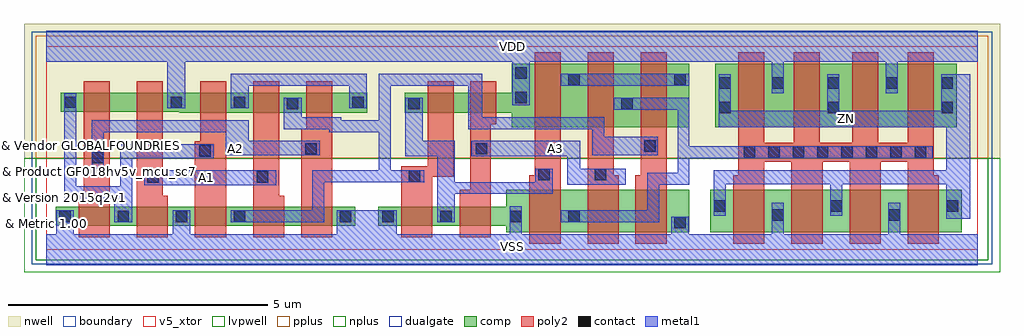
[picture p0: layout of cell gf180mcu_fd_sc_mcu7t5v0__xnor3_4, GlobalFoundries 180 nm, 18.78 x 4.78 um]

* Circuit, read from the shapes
.subckt gf180mcu_fd_sc_mcu7t5v0__xnor3_4 A1 A2 A3 VDD VSS ZN
XM1 n1 A2 VSS VSUBS nfet_05v0 w=0.36u l=0.6u
XM2 VSS A1 n1 VSUBS nfet_05v0 w=0.36u l=0.6u
XM3 n2 n1 VSS VSUBS nfet_05v0 w=0.36u l=0.6u
XM4 n3 A1 n2 VSUBS nfet_05v0 w=0.36u l=0.6u
XM5 VSS A2 n3 VSUBS nfet_05v0 w=0.36u l=0.6u
XM6 n4 n2 VSS VSUBS nfet_05v0 w=0.36u l=0.6u
XM7 VSS A3 n4 VSUBS nfet_05v0 w=0.36u l=0.6u
XM8 n5 n4 VSS VSUBS nfet_05v0 w=0.82u l=0.6u
XM9 n6 A3 n5 VSUBS nfet_05v0 w=0.82u l=0.6u
XM10 VSS n2 n6 VSUBS nfet_05v0 w=0.82u l=0.6u
XM11 VSS n5 ZN VSUBS nfet_05v0 w=0.82u l=0.6u m=4
XM12 n7 A2 n1 n8 pfet_05v0 w=0.36u l=0.5u
XM13 VDD A1 n7 n8 pfet_05v0 w=0.36u l=0.5u
XM14 n9 n1 VDD n8 pfet_05v0 w=0.385u l=0.5u
XM15 n2 A1 n9 n8 pfet_05v0 w=0.385u l=0.5u
XM16 n9 A2 n2 n8 pfet_05v0 w=0.385u l=0.5u
XM17 n10 n2 n4 n8 pfet_05v0 w=0.385u l=0.5u
XM18 VDD A3 n10 n8 pfet_05v0 w=0.385u l=0.5u
XM19 n11 n4 VDD n8 pfet_05v0 w=1.22u l=0.5u
XM20 n5 A3 n11 n8 pfet_05v0 w=1.22u l=0.5u
XM21 n11 n2 n5 n8 pfet_05v0 w=1.22u l=0.5u
XM22 VDD n5 ZN n8 pfet_05v0 w=1.22u l=0.5u m=4
.ends

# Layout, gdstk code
import gdstk
lib = gdstk.Library(unit=1e-6, precision=1e-09)
def R(c, l, rs):  # rectangles x0, y0, x1, y1
    for r in rs: c.add(gdstk.rectangle(r[:2], r[2:], *l))
def A(c, l, x, y, w, h, nx, ny, dx, dy):  # array of equal rectangles
    R(c, l, [(x+i*dx, y+j*dy, x+i*dx+w, y+j*dy+h) for i in range(nx) for j in range(ny)])
def P(c, l, *ps):  # polygons
    for p in ps: c.add(gdstk.Polygon(p, *l))
boundary = (0, 0)
nwell = (21, 0)
comp = (22, 0)
poly2 = (30, 0)
pplus = (31, 0)
nplus = (32, 0)
contact = (33, 0)
metal1 = (34, 0)
dualgate = (55, 0)
v5_xtor = (112, 1)
lvpwell = (204, 0)

gf180mcu_fd_sc_mcu7t5v0_ = lib.new_cell('gf180mcu_fd_sc_mcu7t5v0__xnor3_4')
R(gf180mcu_fd_sc_mcu7t5v0_, boundary, [(0,0,17.92,3.92)])
R(gf180mcu_fd_sc_mcu7t5v0_, nwell, [(-0.43,1.76,18.35,4.35)])
R(gf180mcu_fd_sc_mcu7t5v0_, comp, [(12.775,0.34,17.615,1.16), (0.18,0.465,5.94,0.825), (12.875,2.36,17.515,3.58)])
P(gf180mcu_fd_sc_mcu7t5v0_, comp, [(2.56,2.635),(2.56,2.66),(0.28,2.66),(0.28,3.02),(6.175,3.02),(6.175,2.635)],
  [(8.85,0.34),(8.85,0.465),(6.39,0.465),(6.39,0.825),(8.85,0.825),(8.85,1.16),(12.375,1.16),(12.375,0.34)],
  [(8.955,2.36),(8.955,2.635),(6.895,2.635),(6.895,3.02),(8.955,3.02),(8.955,3.58),(12.375,3.58),(12.375,2.36)])
P(gf180mcu_fd_sc_mcu7t5v0_, poly2, [(0.62,0.245),(0.62,1.045),(0.72,1.045),(0.72,3.24),(1.22,3.24),(1.22,0.245)],
  [(1.74,0.245),(1.74,3.24),(2.24,3.24),(2.24,1.045),(2.34,1.045),(2.34,0.245)],
  [(2.86,0.245),(2.86,2.09),(2.96,2.09),(2.96,3.24),(3.46,3.24),(3.46,0.245)],
  [(3.98,0.245),(3.98,3.24),(4.48,3.24),(4.48,1.045),(4.58,1.045),(4.58,0.245)],
  [(4.9,0.245),(4.9,2.335),(5,2.335),(5,3.24),(5.5,3.24),(5.5,0.245)],
  [(6.83,0.245),(6.83,1.61),(7.335,1.61),(7.335,3.24),(7.835,3.24),(7.835,1.41),(7.43,1.41),(7.43,0.245)],
  [(7.95,0.245),(7.95,1.16),(8.155,1.16),(8.155,3.24),(8.655,3.24),(8.655,2.415),(8.55,2.415),(8.55,0.245)],
  [(9.295,0.12),(9.295,1.44),(9.395,1.44),(9.395,3.8),(9.895,3.8),(9.895,0.12)],
  [(10.415,0.12),(10.415,3.8),(10.915,3.8),(10.915,1.44),(11.015,1.44),(11.015,0.12)],
  [(11.335,0.12),(11.335,1.44),(11.435,1.44),(11.435,3.8),(11.935,3.8),(11.935,0.12)],
  [(13.215,0.12),(13.215,1.44),(13.315,1.44),(13.315,3.8),(13.815,3.8),(13.815,2.06),(14.385,2.06),(14.385,3.8),(14.885,3.8),(14.885,2.06),(15.505,2.06),(15.505,3.8),(16.005,3.8),(16.005,2.06),(16.575,2.06),(16.575,3.8),(17.075,3.8),(17.075,1.44),(17.175,1.44),(17.175,0.12),(16.575,0.12),(16.575,1.7),(16.055,1.7),(16.055,0.12),(15.455,0.12),(15.455,1.7),(14.935,1.7),(14.935,0.12),(14.335,0.12),(14.335,1.7),(13.815,1.7),(13.815,0.12)])
R(gf180mcu_fd_sc_mcu7t5v0_, pplus, [(-0.2,1.76,18.12,4.12)])
R(gf180mcu_fd_sc_mcu7t5v0_, nplus, [(-0.2,-0.2,18.12,1.76)])
A(gf180mcu_fd_sc_mcu7t5v0_, contact, 0.25, 0.535, 0.22, 0.22, 4, 1, 1.12, 0)
A(gf180mcu_fd_sc_mcu7t5v0_, contact, 12.845, 0.73, 0.22, 0.22, 3, 1, 2.24, 0)
A(gf180mcu_fd_sc_mcu7t5v0_, contact, 13.42, 1.77, 0.22, 0.22, 8, 1, 0.47, 0)
R(gf180mcu_fd_sc_mcu7t5v0_, contact, [(12.085,0.415,12.305,0.635), (5.65,0.535,5.87,0.755), (6.46,0.535,6.68,0.755), (7.58,0.535,7.8,0.755), (8.92,0.535,9.14,0.755), (10.045,0.535,10.265,0.755), (13.965,0.56,14.185,0.78), (16.205,0.56,16.425,0.78), (1.94,1.29,2.16,1.51), (4.05,1.295,4.27,1.515), (6.97,1.31,7.19,1.53), (9.465,1.335,9.685,1.555), (10.555,1.335,10.775,1.555), (0.88,1.665,1.1,1.885), (2.94,1.79,3.16,2.01), (4.98,1.835,5.2,2.055), (8.26,1.835,8.48,2.055), (11.505,1.89,11.725,2.11), (12.945,2.63,13.165,2.85), (15.035,2.63,15.255,2.85), (17.225,2.63,17.445,2.85), (4.63,2.705,4.85,2.925), (6.965,2.705,7.185,2.925), (11.065,2.705,11.285,2.925), (0.35,2.73,0.57,2.95), (2.39,2.73,2.61,2.95), (3.61,2.73,3.83,2.95), (5.885,2.73,6.105,2.95), (9.025,2.82,9.245,3.04), (12.945,3.1,13.165,3.32), (13.965,3.1,14.185,3.32), (15.035,3.1,15.255,3.32), (16.155,3.1,16.375,3.32), (17.225,3.1,17.445,3.32), (10.045,3.165,10.265,3.385), (12.085,3.165,12.305,3.385), (9.025,3.29,9.245,3.51)])
R(gf180mcu_fd_sc_mcu7t5v0_, metal1, [(1.88,1.24,4.42,1.535), (9.895,3.16,12.375,3.39)])
P(gf180mcu_fd_sc_mcu7t5v0_, metal1, [(1.31,0.53),(1.31,0.99),(0.345,0.99),(0.345,3.015),(0.575,3.015),(0.575,1.225),(1.42,1.225),(1.42,2.035),(3.22,2.035),(3.22,1.765),(1.65,1.765),(1.65,0.53)],
  [(0.875,1.565),(0.875,2.495),(3.89,2.495),(3.89,2.095),(5.26,2.095),(5.26,1.82),(3.45,1.82),(3.45,2.265),(1.105,2.265),(1.105,1.565)],
  [(3.55,2.725),(3.55,3.39),(6.165,3.39),(6.165,2.725),(5.825,2.725),(5.825,3.16),(3.89,3.16),(3.89,2.725)],
  [(7.52,0.53),(7.52,1.8),(6.905,1.8),(6.905,2.93),(7.245,2.93),(7.245,2.095),(7.86,2.095),(7.86,1.305),(9.405,1.305),(9.405,1.56),(9.745,1.56),(9.745,1.075),(7.86,1.075),(7.86,0.53)],
  [(10.02,1.255),(10.02,1.8),(8.175,1.8),(8.175,2.095),(10.275,2.095),(10.275,1.565),(11.15,1.565),(11.15,1.255)],
  [(3.55,0.53),(3.55,0.76),(5.115,0.76),(5.115,1.535),(6.395,1.535),(6.395,2.265),(5.44,2.265),(5.44,2.325),(4.57,2.325),(4.57,2.93),(4.91,2.93),(4.91,2.555),(5.67,2.555),(5.67,2.495),(6.395,2.495),(6.395,3.39),(8.39,3.39),(8.39,2.555),(10.735,2.555),(10.735,2.18),(11.76,2.18),(11.76,1.82),(10.505,1.82),(10.505,2.325),(8.115,2.325),(8.115,3.16),(6.625,3.16),(6.625,1.535),(7.275,1.535),(7.275,1.3),(5.345,1.3),(5.345,0.53)],
  [(9.895,0.53),(9.895,0.76),(11.565,0.76),(11.565,1.485),(12.145,1.485),(12.145,2.7),(10.915,2.7),(10.915,2.93),(12.375,2.93),(12.375,1.995),(17.06,1.995),(17.06,1.765),(12.375,1.765),(12.375,1.255),(11.795,1.255),(11.795,0.53)],
  [(17.32,0.6),(17.32,1.26),(15.31,1.26),(15.31,0.655),(15.08,0.655),(15.08,1.26),(13.07,1.26),(13.07,0.655),(12.84,0.655),(12.84,1.535),(17.32,1.535),(17.32,2.36),(12.94,2.36),(12.94,3.38),(13.17,3.38),(13.17,2.68),(15.03,2.68),(15.03,3.38),(15.26,3.38),(15.26,2.68),(17.22,2.68),(17.22,3.38),(17.775,3.38),(17.775,0.6)],
  [(0,-0.3),(0,0.3),(0.19,0.3),(0.19,0.76),(0.53,0.76),(0.53,0.3),(2.43,0.3),(2.43,0.76),(2.77,0.76),(2.77,0.3),(5.59,0.3),(5.59,0.76),(6.74,0.76),(6.74,0.3),(8.915,0.3),(8.915,0.84),(9.145,0.84),(9.145,0.3),(12.025,0.3),(12.025,0.64),(12.365,0.64),(12.365,0.3),(13.96,0.3),(13.96,0.905),(14.19,0.905),(14.19,0.3),(16.2,0.3),(16.2,0.905),(16.43,0.905),(16.43,0.3),(17.92,0.3),(17.92,-0.3)],
  [(2.33,2.725),(2.33,3.62),(0,3.62),(0,4.22),(17.92,4.22),(17.92,3.62),(16.38,3.62),(16.38,3.015),(16.15,3.015),(16.15,3.62),(14.19,3.62),(14.19,3.015),(13.96,3.015),(13.96,3.62),(9.305,3.62),(9.305,2.785),(8.965,2.785),(8.965,3.62),(2.67,3.62),(2.67,2.725)])
R(gf180mcu_fd_sc_mcu7t5v0_, dualgate, [(-0.28,-0.28,18.2,4.2)])
R(gf180mcu_fd_sc_mcu7t5v0_, v5_xtor, [(0,0,17.92,3.92)])
R(gf180mcu_fd_sc_mcu7t5v0_, lvpwell, [(-0.43,-0.43,18.35,1.76)])
gf180mcu_fd_sc_mcu7t5v0_.add(gdstk.Label('A3', (9.8,1.96), layer=34, texttype=10))
gf180mcu_fd_sc_mcu7t5v0_.add(gdstk.Label('VDD', (8.96,3.91), layer=34, texttype=10))
gf180mcu_fd_sc_mcu7t5v0_.add(gdstk.Label('VSS', (8.96,0.06), layer=34, texttype=10))
gf180mcu_fd_sc_mcu7t5v0_.add(gdstk.Label('ZN', (15.4,2.52), layer=34, texttype=10))
gf180mcu_fd_sc_mcu7t5v0_.add(gdstk.Label('A1', (3.08,1.4), layer=34, texttype=10))
gf180mcu_fd_sc_mcu7t5v0_.add(gdstk.Label('A2', (3.64,1.96), layer=34, texttype=10))
gf180mcu_fd_sc_mcu7t5v0_.add(gdstk.Label('& Vendor GLOBALFOUNDRIES', (0,2), layer=63, texttype=63))
gf180mcu_fd_sc_mcu7t5v0_.add(gdstk.Label('& Product GF018hv5v_mcu_sc7', (0,1.5), layer=63, texttype=63))
gf180mcu_fd_sc_mcu7t5v0_.add(gdstk.Label('& Version 2015q2v1', (0,1), layer=63, texttype=63))
gf180mcu_fd_sc_mcu7t5v0_.add(gdstk.Label('& Metric 1.00', (0,0.5), layer=63, texttype=63))

lib.write_gds('gf180mcu_fd_sc_mcu7t5v0__xnor3_4.gds')
